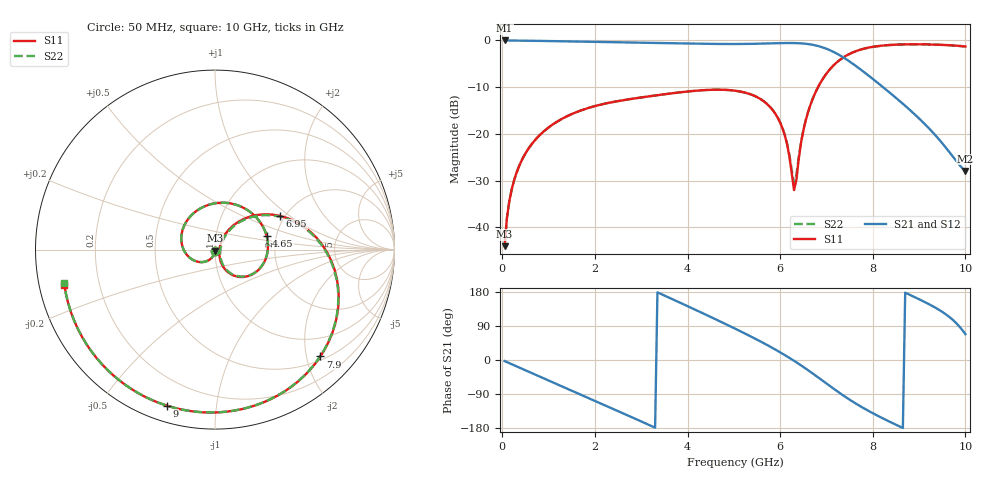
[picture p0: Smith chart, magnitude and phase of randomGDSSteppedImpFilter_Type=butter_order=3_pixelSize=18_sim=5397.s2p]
! freq	dB(S11)	phase(S11)	dB(S12)	phase(S12)
!  dB(S21)	phase(S21)	dB(S22)	phase(S22)
!S-par simulation data
#  GHz  S  DB  R 50
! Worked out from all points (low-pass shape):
!   200 points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, 50 MHz to 10 GHz, reference 50 ohm
!   highest |S21| = 0.00 dB at 50 MHz (marker M1); lowest = -27.9 dB at 10 GHz (marker M2)
!   |S21| within 3 dB of the highest: start of sweep to 7.258 GHz
!   lowest |S11| = -44.0 dB at 50 MHz (marker M3), VSWR 1.01, Z = 50 - j0.63 ohm
!   |S11| at or under -10 dB: start of sweep to 6.818 GHz
!   |S22| runs from -44.0 to -0.8 dB; largest |S21 - S12| = 0
!   S11 on the Smith chart (normalised r, x): 50 MHz: 1.00, -0.01; 4.65 GHz: 1.78, +0.29; 6.95 GHz: 1.88, +0.85; 7.9 GHz: 0.57, -2.27; 9 GHz: 0.07, -0.73; 10 GHz: 0.08, -0.12
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0.05  -44.00 -92.1  -0.00 -2.8  -0.00 -2.8  -44.00 -92.1
0.2  -31.98 -100.9  -0.02 -10.9  -0.02 -10.9  -31.98 -100.9
0.5  -24.16 -117.5  -0.06 -27.1  -0.06 -27.1  -24.16 -117.5
1.15  -17.57 -153.0  -0.15 -62.1  -0.15 -62.1  -17.57 -152.9
1.75  -14.79 174.6  -0.26 -94.3  -0.26 -94.3  -14.79 174.7
2.65  -12.72 125.5  -0.42 -143.0  -0.42 -143.0  -12.72 125.8
3.4  -11.64 84.6  -0.55 175.8  -0.55 175.8  -11.64 85.0
4  -10.92 51.3  -0.66 142.2  -0.66 142.2  -10.92 51.7
4.65  -10.53 14.7  -0.75 104.9  -0.75 104.9  -10.53 15.2
5.05  -10.78 -8.1  -0.76 81.4  -0.76 81.4  -10.78 -7.5
5.95  -16.58 -59.7  -0.58 23.8  -0.58 23.8  -16.54 -58.1
6.15  -22.23 -64.9  -0.55 9.4  -0.55 9.4  -22.06 -61.7
6.3  -32.01 -15.9  -0.56 -2.1  -0.56 -2.1  -30.48 -13.9
6.5  -19.31 56.4  -0.66 -18.2  -0.66 -18.2  -19.21 53.7
6.7  -12.56 46.7  -0.93 -35.3  -0.93 -35.3  -12.54 45.4
6.95  -7.79 27.4  -1.59 -57.5  -1.59 -57.5  -7.78 26.6
7.45  -3.13 -13.4  -4.17 -100.7  -4.17 -100.7  -3.12 -13.8
7.9  -1.55 -45.4  -7.45 -133.8  -7.45 -133.8  -1.55 -45.7
8.35  -0.98 -72.4  -11.03 -162.0  -11.03 -162.0  -0.98 -72.8
9  -0.82 -107.2  -16.69 160.4  -16.69 160.4  -0.82 -107.5
9.5  -0.94 -134.5  -21.98 127.1  -21.98 127.1  -0.95 -135.0
10  -1.29 -166.7  -27.94 68.2  -27.94 68.2  -1.30 -167.5
